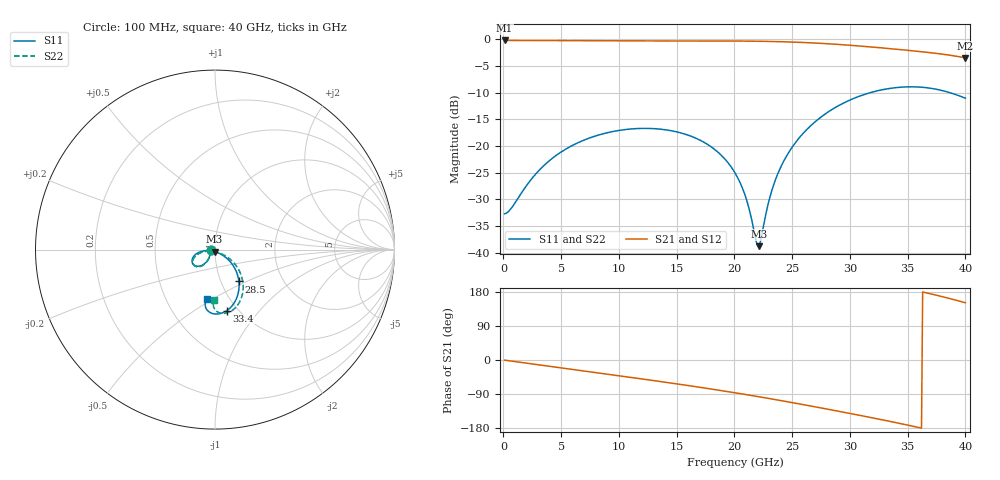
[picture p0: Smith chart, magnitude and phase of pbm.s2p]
! E_s8_L1L8_p1200_round_g2: reduced via model, differential mode (per line 50 ohm)
# Hz S RI R 50
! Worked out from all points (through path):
!   400 points, 100 MHz to 40 GHz, reference 50 ohm
!   highest |S21| = -0.20 dB at 100 MHz (marker M1); lowest = -3.5 dB at 40 GHz (marker M2)
!   group delay of S21, straight-line fit = 14.1 ps
!   lowest |S11| = -38.8 dB at 22.1 GHz (marker M3), VSWR 1.02, Z = 49.8 - j1.13 ohm
!   |S11| at or under -10 dB: start of sweep to 31.75 GHz; 38.67 GHz to end of sweep
!   |S22| runs from -38.6 to -8.9 dB; largest |S21 - S12| = 0
!   S11 on the Smith chart (normalised r, x): 100 MHz: 0.95, -0.00; 28.5 GHz: 1.21, -0.45; 33.4 GHz: 0.89, -0.69; 40 GHz: 0.78, -0.47
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1e8  -0.0231 -0.00165  0.9769 -0.00707  0.9769 -0.00707  -0.0231 -0.00166
3.5e9  -0.0375 -0.054  0.9441 -0.2444  0.9441 -0.2444  -0.0367 -0.0545
6.8e9  -0.0708 -0.0865  0.8562 -0.459  0.8562 -0.459  -0.0685 -0.0883
1e10  -0.1064 -0.0912  0.7245 -0.6416  0.7245 -0.6416  -0.1028 -0.0953
1.34e10  -0.1276 -0.0684  0.5404 -0.8004  0.5404 -0.8004  -0.1238 -0.0749
1.74e10  -0.1052 -0.0245  0.2689 -0.9278  0.2689 -0.9278  -0.1033 -0.0315
1.89e10  -0.0804 -0.0117  0.1526 -0.9536  0.1526 -0.9536  -0.0793 -0.0176
2.01e10  -0.0545 -0.00629  0.0547 -0.9632  0.0547 -0.9632  -0.0539 -0.0106
2.1e10  -0.0321 -0.00606  -0.0209 -0.9631  -0.0209 -0.9631  -0.0315 -0.00877
2.14e10  -0.0215 -0.00722  -0.055 -0.9608  -0.055 -0.9608  -0.0209 -0.0091
2.19e10  -0.00786 -0.00986  -0.0977 -0.956  -0.0977 -0.956  -0.00701 -0.0106
2.21e10  -0.00229 -0.0113  -0.1149 -0.9534  -0.1149 -0.9534  -0.00134 -0.0116
2.23e10  0.00332 -0.013  -0.1321 -0.9505  -0.1321 -0.9505  0.0044 -0.0128
2.31e10  0.026 -0.0221  -0.2007 -0.9349  -0.2007 -0.9349  0.0278 -0.0198
2.39e10  0.0484 -0.0351  -0.2687 -0.9132  -0.2687 -0.9132  0.0514 -0.0307
2.51e10  0.0799 -0.0621  -0.3678 -0.8685  -0.3678 -0.8685  0.0854 -0.0543
2.67e10  0.1135 -0.1108  -0.4903 -0.7872  -0.4903 -0.7872  0.1241 -0.0988
2.85e10  0.133 -0.1777  -0.6077 -0.6693  -0.6077 -0.6693  0.1514 -0.1623
3.08e10  0.1223 -0.266  -0.7167 -0.4881  -0.7167 -0.4881  0.1526 -0.2499
3.34e10  0.0661 -0.3399  -0.7778 -0.2598  -0.7778 -0.2598  0.1087 -0.3288
3.69e10  -0.0315 -0.3481  -0.7493 0.0621  -0.7493 0.0621  0.0176 -0.349
4e10  -0.0471 -0.2773  -0.5873 0.3247  -0.5873 0.3247  -0.00449 -0.2811
